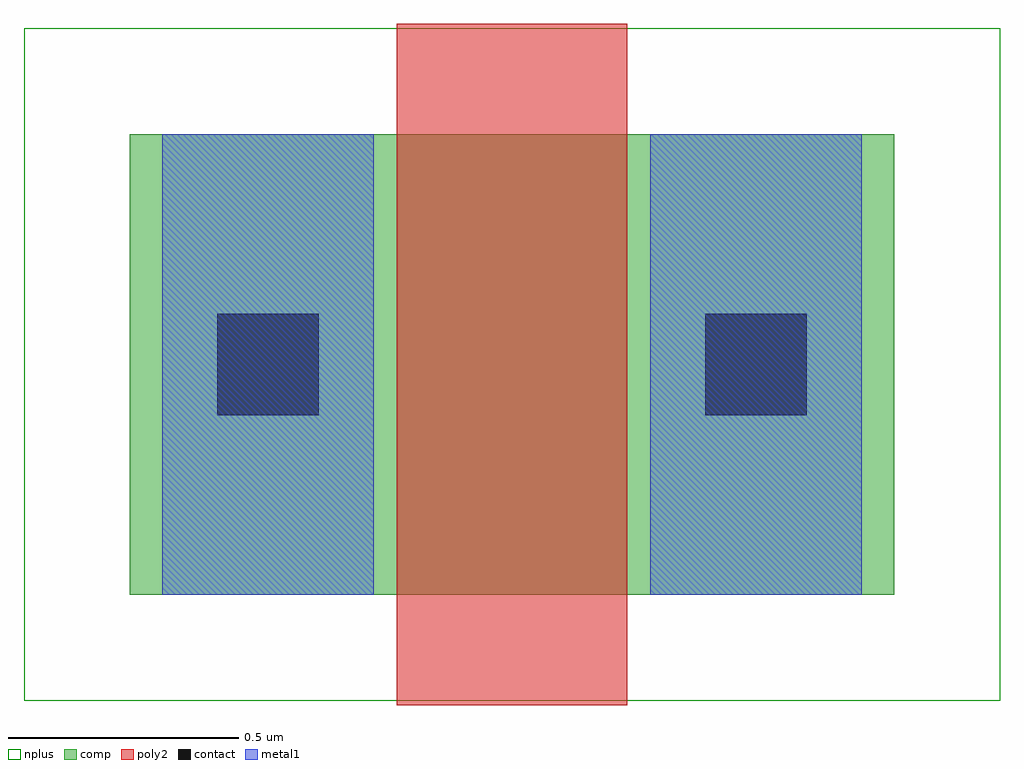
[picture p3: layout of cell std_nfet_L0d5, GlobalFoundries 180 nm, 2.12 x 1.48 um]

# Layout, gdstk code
import gdstk
lib = gdstk.Library(unit=1e-6, precision=5e-09)
def R(c, l, rs):  # rectangles x0, y0, x1, y1
    for r in rs: c.add(gdstk.rectangle(r[:2], r[2:], *l))
comp = (22, 0)
poly2 = (30, 0)
nplus = (32, 0)
contact = (33, 0)
metal1 = (34, 0)

std_nfet_l0d5 = lib.new_cell('std_nfet_L0d5')
R(std_nfet_l0d5, comp, [(-0.83,-0.5,0.83,0.5)])
R(std_nfet_l0d5, poly2, [(-0.25,-0.74,0.25,0.74)])
R(std_nfet_l0d5, nplus, [(-1.06,-0.73,1.06,0.73)])
R(std_nfet_l0d5, contact, [(-0.64,-0.11,-0.42,0.11), (0.42,-0.11,0.64,0.11)])
R(std_nfet_l0d5, metal1, [(-0.76,-0.5,-0.3,0.5), (0.3,-0.5,0.76,0.5), (-0.76,-0.23,-0.3,0.23), (0.3,-0.23,0.76,0.23)])

lib.write_gds('std_nfet_L0d5.gds')
